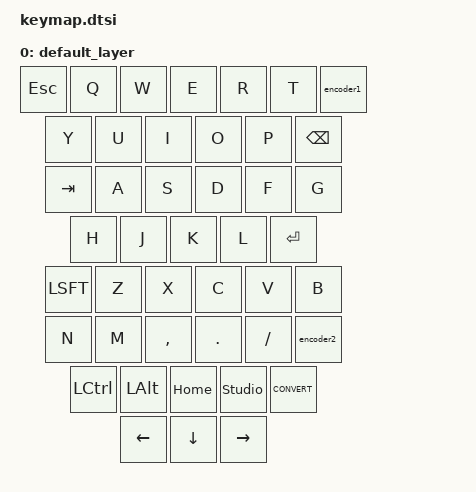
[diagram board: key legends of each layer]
/ {
  keymap {
    compatible = "zmk,keymap";

    default_layer {
      bindings = 
        <&kp ESC>, <&kp Q>, <&kp W>, <&kp E>, <&kp R>, <&kp T>, <&encoder1>,
        <&kp Y>, <&kp U>, <&kp I>, <&kp O>, <&kp P>, <&kp BSPC>,
        <&kp TAB>, <&kp A>, <&kp S>, <&kp D>, <&kp F>, <&kp G>,
        <&kp H>, <&kp J>, <&kp K>, <&kp L>, <&kp ENTER>,
        <&kp LSFT>, <&kp Z>, <&kp X>, <&kp C>, <&kp V>, <&kp B>,
        <&kp N>, <&kp M>, <&kp COMMA>, <&kp DOT>, <&kp SLASH>, <&encoder2>,
        <&kp LCTRL>, <&kp LALT>, <&kp HOME>, <&studio_unlock>, <&kp CONVERT>,
        <&kp LEFT>, <&kp DOWN>, <&kp RIGHT>;
    };
  };
};

&studio_unlock {
  bindings = <&kp SPACE>;
};

